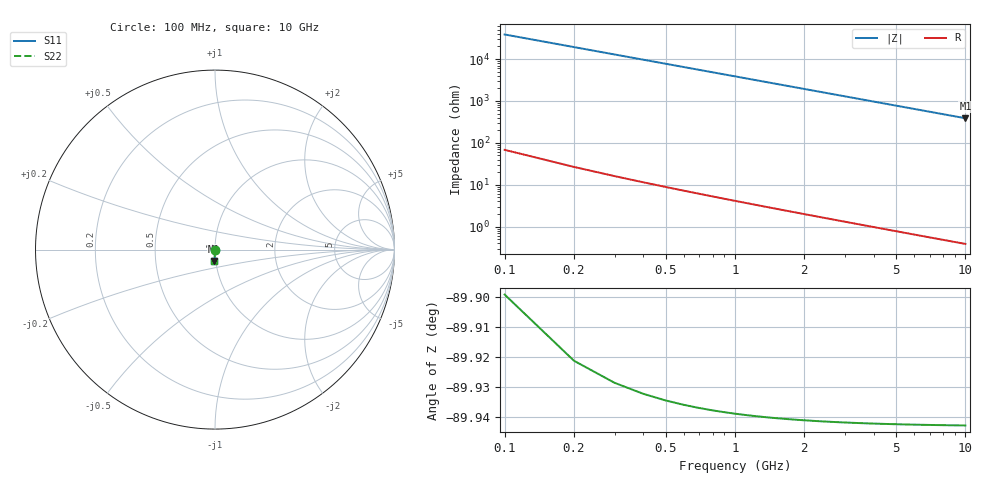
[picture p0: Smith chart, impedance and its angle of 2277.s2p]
# Hz S RI R 50.00
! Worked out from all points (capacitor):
!   100 points, 100 MHz to 10 GHz, reference 50 ohm
!   read as one part in shunt: C = 41.2 fF near 100 MHz
!   lowest |Z| = 387 ohm at 10 GHz (marker M1)
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1e8  2.79e-06 -0.00064  1 -0.000654  1 -0.000654  2.79e-06 -0.00064
2e8  9.26e-07 -0.00128  1 -0.00131  1 -0.00131  9.26e-07 -0.00128
3e8  -1.78e-06 -0.00192  1 -0.00196  1 -0.00196  -1.78e-06 -0.00192
4e8  -5.33e-06 -0.00256  1 -0.00261  1 -0.00261  -5.33e-06 -0.00256
5e8  -9.72e-06 -0.0032  1 -0.00327  1 -0.00327  -9.72e-06 -0.0032
6e8  -1.5e-05 -0.00384  1 -0.00392  1 -0.00392  -1.5e-05 -0.00384
7e8  -2.1e-05 -0.00448  1 -0.00458  1 -0.00458  -2.1e-05 -0.00448
8e8  -2.79e-05 -0.00512  1 -0.00523  1 -0.00523  -2.79e-05 -0.00512
9e8  -3.57e-05 -0.00576  1 -0.00588  1 -0.00588  -3.57e-05 -0.00576
1.1e9  -5.37e-05 -0.00704  0.9999 -0.00719  0.9999 -0.00719  -5.37e-05 -0.00704
1.4e9  -8.69e-05 -0.00896  0.9999 -0.00915  0.9999 -0.00915  -8.69e-05 -0.00896
1.8e9  -0.000143 -0.0115  0.9998 -0.0118  0.9998 -0.0118  -0.000143 -0.0115
2.1e9  -0.000194 -0.0134  0.9998 -0.0137  0.9998 -0.0137  -0.000194 -0.0134
2.5e9  -0.000273 -0.016  0.9997 -0.0163  0.9997 -0.0163  -0.000273 -0.016
2.9e9  -0.000366 -0.0186  0.9996 -0.0189  0.9996 -0.0189  -0.000366 -0.0186
3.4e9  -0.000501 -0.0218  0.9995 -0.0222  0.9995 -0.0222  -0.000501 -0.0218
4.2e9  -0.00076 -0.0269  0.9992 -0.0274  0.9992 -0.0274  -0.00076 -0.0269
5.1e9  -0.00112 -0.0326  0.9989 -0.0333  0.9989 -0.0333  -0.00112 -0.0326
5.9e9  -0.00149 -0.0377  0.9985 -0.0385  0.9985 -0.0385  -0.00149 -0.0377
6.7e9  -0.00191 -0.0428  0.9981 -0.0437  0.9981 -0.0437  -0.00191 -0.0428
8.4e9  -0.00299 -0.0536  0.997 -0.0547  0.997 -0.0547  -0.00299 -0.0536
1e10  -0.00422 -0.0637  0.9958 -0.0651  0.9958 -0.0651  -0.00422 -0.0637
